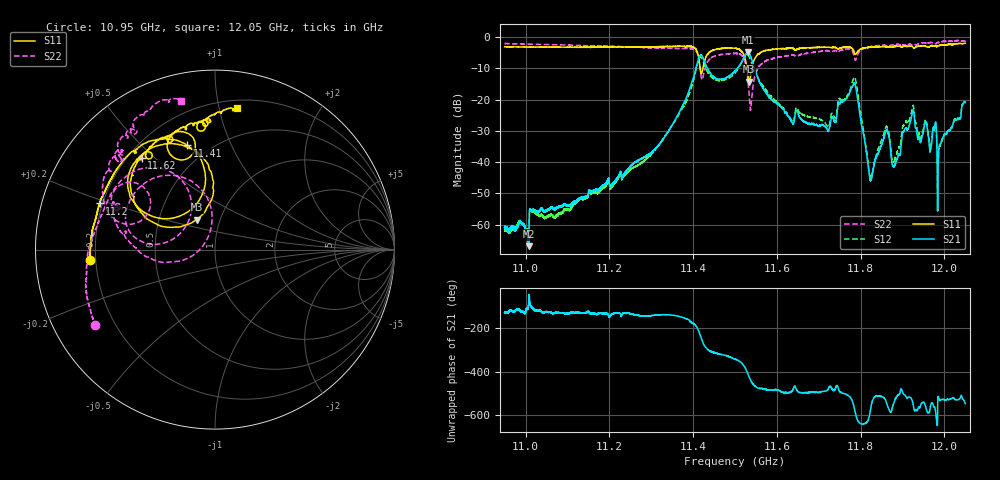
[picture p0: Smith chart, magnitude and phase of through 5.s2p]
!Agilent Technologies,E8362C,MY49020356,A.09.42.23
!Agilent E8362C: A.09.42.23
!Date: Saturday, September 11, 2021 04:08:39
!Correction: S11(Full 2 Port(1,2))
!S21(Full 2 Port(1,2))
!S12(Full 2 Port(1,2))
!S22(Full 2 Port(1,2))
!S2P File: Measurements: S11, S21, S12, S22:
# Hz S  MA  R 50
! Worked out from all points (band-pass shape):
!   32001 points, 10.95 GHz to 12.05 GHz, reference 50 ohm
!   highest |S21| = -4.91 dB at 11.53 GHz (marker M1); lowest = -66.9 dB at 11.01 GHz (marker M2)
!   |S21| within 3 dB of the highest: 11.41074 GHz to 11.42747 GHz (16.73 MHz wide, 0.147 % of centre); 11.51612 GHz to 11.54161 GHz (25.49 MHz wide, 0.221 % of centre)
!   lowest |S11| = -14.2 dB at 11.53 GHz (marker M3), VSWR 1.48, Z = 38.8 + j13.5 ohm
!   |S11| at or under -10 dB: 11.41692 GHz to 11.42337 GHz (6.453 MHz wide, 0.0565 % of centre); 11.5286 GHz to 11.54017 GHz (11.57 MHz wide, 0.1 % of centre)
!   |S22| runs from -23.4 to -1.1 dB; largest |S21 - S12| = 0.15
!   S11 on the Smith chart (normalised r, x): 10.95 GHz: 0.18, -0.04; 11.2 GHz: 0.19, +0.19; 11.41 GHz: 0.38, +0.69; 11.62 GHz: 0.25, +0.46; 12.05 GHz: 0.26, +1.13
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1.095e10  0.7015 -175.2  0.000894 -126.8  0.0008574 -124.2  0.7892 -147.6
1.100751e10  0.6933 178.4  0.0004523 -77.6  0.0005203 -88.7  0.7725 -154.1
1.113336e10  0.6855 165.5  0.002683 -129.9  0.002574 -128.0  0.7325 -168.2
1.120111e10  0.6917 158.2  0.004279 -146.8  0.003942 -147.1  0.7131 -176.6
1.131668e10  0.703 143.9  0.0184 -139.2  0.01817 -133.0  0.6687 168.4
1.140884e10  0.6009 105.0  0.3565 165.1  0.3355 175.5  0.5728 126.9
1.14297e10  0.4647 151.9  0.3686 72.7  0.322 81.6  0.3408 175.1
1.15e10  0.6639 120.0  0.2853 17.0  0.265 32.5  0.5483 146.2
1.153142e10  0.2287 101.6  0.5685 -54.0  0.5115 -42.3  0.1881 95.0
1.153365e10  0.1947 121.0  0.5516 -64.6  0.4826 -51.4  0.123 100.6
1.162409e10  0.655 128.5  0.05719 -139.4  0.06043 -123.0  0.5029 172.0
1.168336e10  0.6799 121.1  0.04078 -134.3  0.05191 -122.0  0.5666 165.6
1.172196e10  0.6893 115.1  0.03185 -122.7  0.03632 -117.7  0.6084 157.9
1.178459e10  0.5725 101.2  0.1862 153.6  0.2273 159.2  0.4831 140.1
1.182319e10  0.6888 109.6  0.005118 141.5  0.005611 137.8  0.7021 153.2
1.186668e10  0.6892 103.5  0.02692 149.7  0.03067 153.1  0.7243 143.0
1.18807e10  0.7086 102.7  0.008711 -175.6  0.01059 -166.1  0.759 140.7
1.192388e10  0.7004 94.5  0.06425 -179.3  0.07729 178.0  0.7574 133.3
1.194041e10  0.7132 96.6  0.02541 153.1  0.02891 148.9  0.7925 133.1
1.197637e10  0.7189 92.5  0.03516 157.6  0.03336 156.0  0.8024 123.6
1.19873e10  0.7326 93.1  0.01768 -167.4  0.01685 -167.6  0.8195 123.7
1.205e10  0.7961 81.0  0.08991 172.0  0.09161 168.4  0.845 102.4
